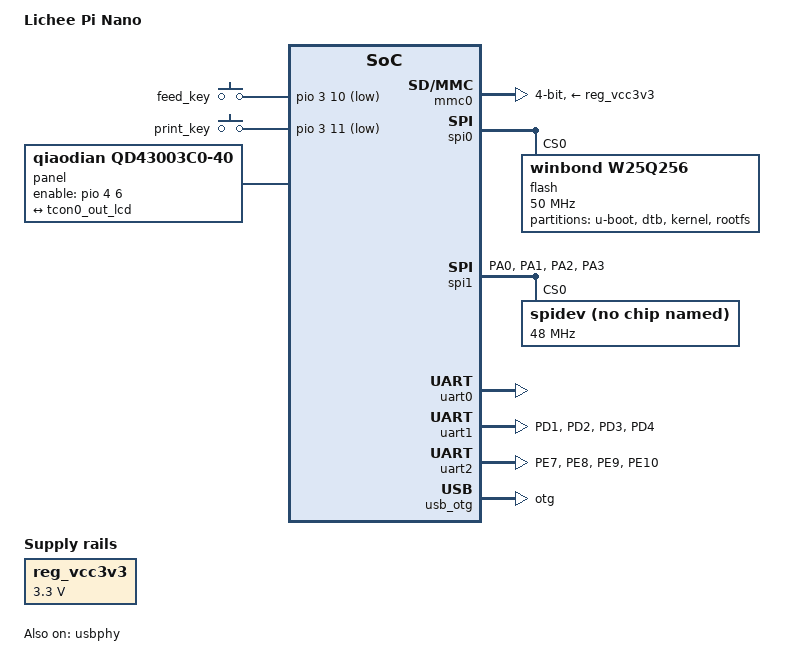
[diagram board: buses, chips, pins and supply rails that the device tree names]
// SPDX-License-Identifier: (GPL-2.0+ OR X11)
/*
 * Copyright 2018 Icenowy Zheng <icenowy@aosc.io>
 */

/dts-v1/;
#include "suniv-f1c100s.dtsi"

#include <dt-bindings/gpio/gpio.h>
#include <dt-bindings/input/linux-event-codes.h>
#include <dt-bindings/pinctrl/sun4i-a10.h>

/ {
	model = "Lichee Pi Nano";
	compatible = "licheepi,licheepi-nano", "allwinner,suniv-f1c100s",
		     "allwinner,suniv";

	aliases {
		serial0 = &uart0;
		spi0 = &spi0;
	};

	chosen {
		stdout-path = "serial0:115200n8";
	};

	gpio_keys {
		compatible = "gpio-keys";
		pinctrl-names = "default";
		pinctrl-0 = <&button_key_feed>;

		button_feed {
			label = "feed_key";
			linux,code = <BTN_0>;
			gpios = <&pio 3 10 GPIO_ACTIVE_LOW>;
		};
		button_print {
			label = "print_key";
			linux,code = <BTN_1>;
			gpios = <&pio 3 11 GPIO_ACTIVE_LOW>;
		};
	};

	panel: panel {
		compatible = "qiaodian,qd43003c0-40", "simple-panel";
		#address-cells = <1>;
		#size-cells = <0>;
		enable-gpios = <&pio 4 6 GPIO_ACTIVE_HIGH>;

		port@0 {
			reg = <0>;
			#address-cells = <1>;
			#size-cells = <0>;

			panel_input: endpoint@0 {
				reg = <0>;
				remote-endpoint = <&tcon0_out_lcd>;
			};
		};
	};

	reg_vcc3v3: vcc3v3 {
		compatible = "regulator-fixed";
		regulator-name = "vcc3v3";
		regulator-min-microvolt = <3300000>;
		regulator-max-microvolt = <3300000>;
	};
};

&de {
	//status = "okay";
	status = "disabled";
};

&mmc0 {
	vmmc-supply = <&reg_vcc3v3>;
	bus-width = <4>;
	broken-cd;
	keep-power-in-suspend;
	//ignore-pm-notify;
	//supports-sdio;
	cap-sdio-irq;
	card-detect-delay = <200>;
	//non-removable;
	status = "okay";
};

&otg_sram {
	status = "okay";
};

&spi0 {
    pinctrl-names = "default";
    pinctrl-0 = <&spi0_pins_a>;
    status = "okay";
    spi-max-frequency = <50000000>;
    flash: w25q256@0 {
        #address-cells = <1>;
        #size-cells = <1>;
        compatible = "winbond,w25q256", "jedec,spi-nor";
        reg = <0>;
        spi-max-frequency = <50000000>;
        partitions {
            compatible = "fixed-partitions";
            #address-cells = <1>;
            #size-cells = <1>;

            partition@0 {
                label = "u-boot";
                reg = <0x000000 0x100000>;
                read-only;
            };

            partition@100000 {
                label = "dtb";
                reg = <0x100000 0x10000>;
                read-only;
            };

            partition@110000 {
                label = "kernel";
                reg = <0x110000 0x400000>;
                read-only;
            };

            partition@510000 {
                label = "rootfs";
                reg = <0x510000 0x1AF0000>;
            };
        };
    };
};

&pio {
	spi1_pins_a: spi1-pins-pa {
				pins = "PA0", "PA1", "PA2", "PA3";
				function = "spi1";
	};
	uart1_pins_a: uart1-pins-pd {
		pins = "PD1", "PD2", "PD3", "PD4";
		function ="uart1";
	};
	uart2_pins_a: uart2-pins-pe {
		pins = "PE7", "PE8", "PE9", "PE10";
		function ="uart2";
	};
	button_key_feed: button_key-pd {
		pins = "PD10","PD11";
		function = "gpio_in"; 
		allwinner,pull = <SUN4I_PINCTRL_PULL_UP>;
	};
};

&spi1 {
	status = "okay";
	pinctrl-names = "default";
	pinctrl-0 = <&spi1_pins_a>;
	spidev@0 {
		compatible = "rohm,dh2228fv";
		spi-max-frequency = <48000000>;
		reg = <0>;
	};
};

&tcon0 {
	pinctrl-names = "default";
	pinctrl-0 = <&lcd_rgb666_pins>;
	//status = "okay";
	status = "disabled";
};

&tcon0_out {
	tcon0_out_lcd: endpoint@0 {
		reg = <0>;
		remote-endpoint = <&panel_input>;
	};
};

&uart0 {
	pinctrl-names = "default";
	pinctrl-0 = <&uart0_pins_a>;
	status = "okay";
};

&uart1 {
	pinctrl-names = "default";
	pinctrl-0 = <&uart1_pins_a>;
	status = "okay";
};

&uart2 {
	pinctrl-names = "default";
	pinctrl-0 = <&uart2_pins_a>;
	status = "okay";
};

&usb_otg {
	dr_mode = "otg";
	status = "okay";
};

&usbphy {
	usb0_id_det-gpio = <&pio 4 2 GPIO_ACTIVE_HIGH>; /* PE2 */
	status = "okay";
};
